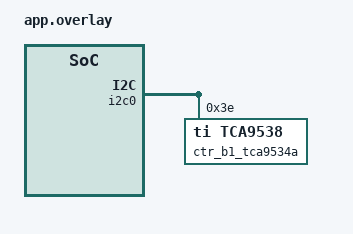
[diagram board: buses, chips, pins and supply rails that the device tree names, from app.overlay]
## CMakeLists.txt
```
#
# Copyright (c) 2023 HARDWARIO a.s.
#
# SPDX-License-Identifier: LicenseRef-HARDWARIO-5-Clause
#

cmake_minimum_required(VERSION 3.20.0)

find_package(Zephyr REQUIRED HINTS $ENV{ZEPHYR_BASE})
project(expander)

target_sources(app PRIVATE src/main.c)
```

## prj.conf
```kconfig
#
# Copyright (c) 2023 HARDWARIO a.s.
#
# SPDX-License-Identifier: LicenseRef-HARDWARIO-5-Clause
#

CONFIG_CTR_BUTTON=y
CONFIG_CTR_DEFAULTS=y
CONFIG_CTR_LED=y
CONFIG_CTR_LOG=y
CONFIG_CTR_SHELL=y
CONFIG_GPIO_PCA953X=y
CONFIG_GPIO=y
CONFIG_I2C=y
```

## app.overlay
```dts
/*
 * Copyright (c) 2023 HARDWARIO a.s.
 *
 * SPDX-License-Identifier: LicenseRef-HARDWARIO-5-Clause
 */

&i2c0 {
	ctr_b1_tca9534a: ctr_b1_tca9534a@3e {
		compatible = "ti,tca9538";
		status = "okay";
		reg = <0x3e>;
		#gpio-cells = <2>;
		gpio-controller;
		ngpios = <8>;
	};
};
```

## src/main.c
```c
/*
 * Copyright (c) 2023 HARDWARIO a.s.
 *
 * SPDX-License-Identifier: LicenseRef-HARDWARIO-5-Clause
 */

/* CHESTER includes */
#include <chester/ctr_led.h>

/* Zephyr includes */
#include <zephyr/device.h>
#include <zephyr/devicetree.h>
#include <zephyr/drivers/gpio.h>
#include <zephyr/kernel.h>
#include <zephyr/logging/log.h>

/* Standard includes */
#include <stdbool.h>

LOG_MODULE_REGISTER(main, LOG_LEVEL_DBG);

static const struct device *dev = DEVICE_DT_GET(DT_NODELABEL(ctr_b1_tca9534a));

int main(void)
{
	int ret;

	LOG_INF("Build time: " __DATE__ " " __TIME__);

	bool state = false;

	if (!device_is_ready(dev)) {
		LOG_ERR("Device not ready");
		k_oops();
	}

	ret = gpio_pin_configure(dev, 5, GPIO_OUTPUT | GPIO_ACTIVE_LOW);
	if (ret) {
		LOG_ERR("Call `gpio_pin_configure` failed: %d", ret);
		k_oops();
	}

	for (;;) {
		LOG_INF("Alive");

		/* Invert state variable */
		state = !state;

		/* Control LED */
		ctr_led_set(CTR_LED_CHANNEL_R, state);

		ret = gpio_pin_set(dev, 5, state ? 1 : 0);
		if (ret) {
			LOG_ERR("Call `gpio_pin_set` failed: %d", ret);
			k_oops();
		}

		/* Wait 500 ms */
		k_sleep(K_MSEC(500));
	}

	return 0;
}
```
